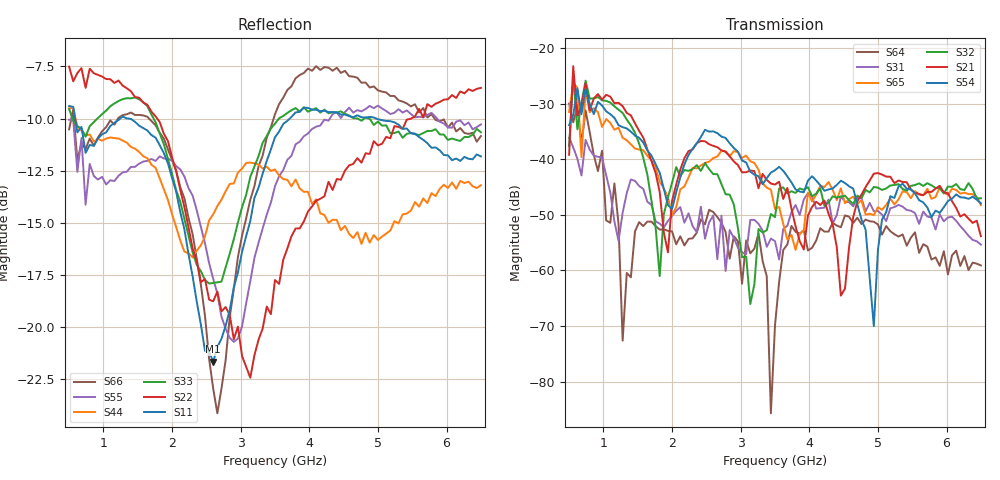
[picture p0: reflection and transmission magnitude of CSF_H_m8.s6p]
!Keysight Technologies,M9804A,MY58100912,A.14.10.03
!Date: Thursday, April 27, 2023 10:28:33
!Correction: S11(C  6-Port  )
!S12(C  6-Port  )
!S13(C  6-Port  )
!S14(C  6-Port  )
!S15(C  6-Port  )
!S16(C  6-Port  )
!S21(C  6-Port  )
!S22(C  6-Port  )
!S23(C  6-Port  )
!S24(C  6-Port  )
!S25(C  6-Port  )
!S26(C  6-Port  )
!S31(C  6-Port  )
!S32(C  6-Port  )
!S33(C  6-Port  )
!S34(C  6-Port  )
!S35(C  6-Port  )
!S36(C  6-Port  )
!S41(C  6-Port  )
!S42(C  6-Port  )
!S43(C  6-Port  )
!S44(C  6-Port  )
!S45(C  6-Port  )
!S46(C  6-Port  )
!S51(C  6-Port  )
!S52(C  6-Port  )
!S53(C  6-Port  )
!S54(C  6-Port  )
!S55(C  6-Port  )
!S56(C  6-Port  )
!S61(C  6-Port  )
!S62(C  6-Port  )
!S63(C  6-Port  )
!S64(C  6-Port  )
!S65(C  6-Port  )
!S66(C  6-Port  )
!S6P File: Measurement: :
# Hz S  RI  R 50
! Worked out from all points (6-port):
!   101 points, 500 MHz to 6.5 GHz, reference 50 ohm
!   strongest paths, dB at 500 MHz, 2 GHz, 3.5 GHz, 5 GHz, 6.5 GHz:
!     S54: -33.9, -48.9, -42.0, -56.3, -48.0
!     S21: -39.2, -47.5, -44.6, -42.5, -53.9
!     S32: -37.6, -44.3, -50.4, -45.1, -47.0
!     S65: -31.5, -50.1, -49.0, -48.7, -48.2
!     S31: -36.1, -50.2, -54.7, -49.3, -55.4
!     S64: -30.0, -53.0, -69.9, -51.7, -59.1
!   lowest |S11| = -21.7 dB at 2.6 GHz (marker M1), VSWR 1.18, Z = 42.6 + j2 ohm
!   |S11| at or under -10 dB: 587.5 MHz to 1.243 GHz (655.7 MHz wide, 71.6 % of centre); 1.368 GHz to 3.714 GHz (2.346 GHz wide, 92.3 % of centre); 4.977 GHz to end of sweep
